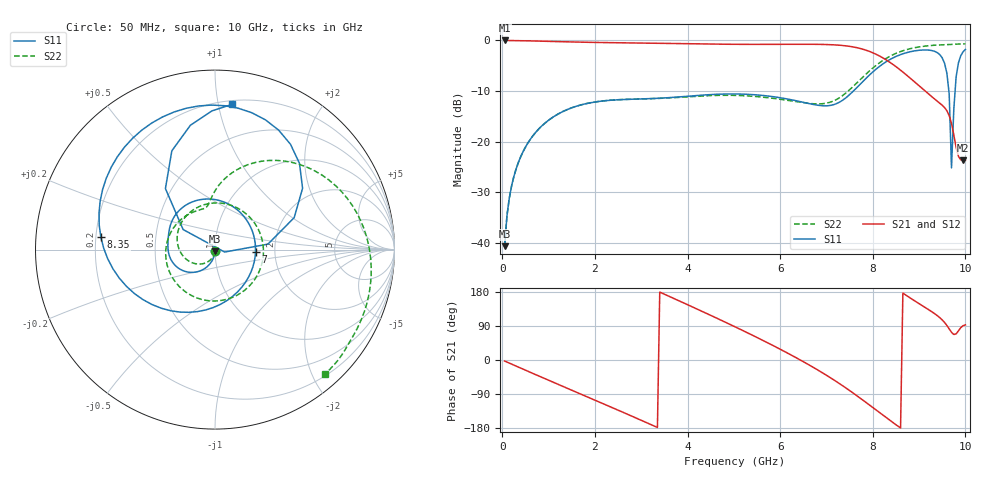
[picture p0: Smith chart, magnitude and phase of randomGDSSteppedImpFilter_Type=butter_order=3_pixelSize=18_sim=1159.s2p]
! freq	dB(S11)	phase(S11)	dB(S12)	phase(S12)
!  dB(S21)	phase(S21)	dB(S22)	phase(S22)
!S-par simulation data
#  GHz  S  DB  R 50
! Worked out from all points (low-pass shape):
!   200 points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, 50 MHz to 10 GHz, reference 50 ohm
!   highest |S21| = 0.00 dB at 50 MHz (marker M1); lowest = -23.7 dB at 9.95 GHz (marker M2)
!   |S21| within 3 dB of the highest: start of sweep to 8.13 GHz
!   lowest |S11| = -40.6 dB at 50 MHz (marker M3), VSWR 1.02, Z = 50 - j0.93 ohm
!   |S11| at or under -10 dB: start of sweep to 7.581 GHz; 9.643 GHz to 9.778 GHz (134.7 MHz wide, 1.39 % of centre)
!   |S22| runs from -40.6 to -0.7 dB; largest |S21 - S12| = 0
!   S11 on the Smith chart (normalised r, x): 50 MHz: 1.00, -0.02; 7 GHz: 1.58, -0.05; 8.35 GHz: 0.22, +0.05; 10 GHz: 0.23, +1.10
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0.05  -40.62 -91.7  -0.00 -2.7  -0.00 -2.7  -40.59 -92.9
0.2  -28.76 -98.3  -0.02 -10.8  -0.02 -10.8  -28.77 -103.7
0.5  -21.06 -110.6  -0.07 -26.9  -0.07 -26.9  -21.08 -124.3
1.75  -12.61 -155.9  -0.35 -92.8  -0.35 -92.8  -12.60 148.7
2.65  -11.66 -179.9  -0.48 -140.3  -0.48 -140.3  -11.65 78.2
3.4  -11.41 165.4  -0.56 179.2  -0.56 179.2  -11.44 12.5
4.3  -10.81 146.0  -0.69 129.2  -0.69 129.2  -10.97 -67.4
5.05  -10.57 123.1  -0.77 86.2  -0.77 86.2  -10.86 -130.1
6  -11.31 81.8  -0.77 28.5  -0.77 28.5  -11.62 155.3
6.7  -12.62 30.8  -0.76 -18.3  -0.76 -18.3  -12.49 112.4
7  -12.91 -3.6  -0.81 -40.3  -0.81 -40.3  -12.38 102.1
7.65  -9.37 -98.7  -1.42 -93.6  -1.42 -93.6  -8.44 84.5
8  -6.23 -145.1  -2.44 -125.5  -2.44 -125.5  -5.46 65.4
8.35  -3.87 173.6  -4.20 -157.6  -4.20 -157.6  -3.23 41.6
9.05  -1.90 101.6  -9.36 144.8  -9.36 144.8  -1.21 -3.7
9.3  -2.05 74.9  -11.30 125.3  -11.30 125.3  -0.97 -17.3
9.5  -3.45 45.5  -12.80 105.7  -12.80 105.7  -0.87 -27.1
9.65  -10.56 5.9  -14.83 82.1  -14.83 82.1  -0.83 -33.7
9.7  -25.16 -14.4  -16.39 73.1  -16.39 73.1  -0.80 -35.8
9.8  -7.17 129.1  -21.13 68.9  -21.13 68.9  -0.73 -40.0
9.95  -2.24 91.2  -23.69 90.6  -23.69 90.6  -0.68 -46.5
10  -1.78 83.3  -23.68 92.6  -23.68 92.6  -0.68 -48.4
